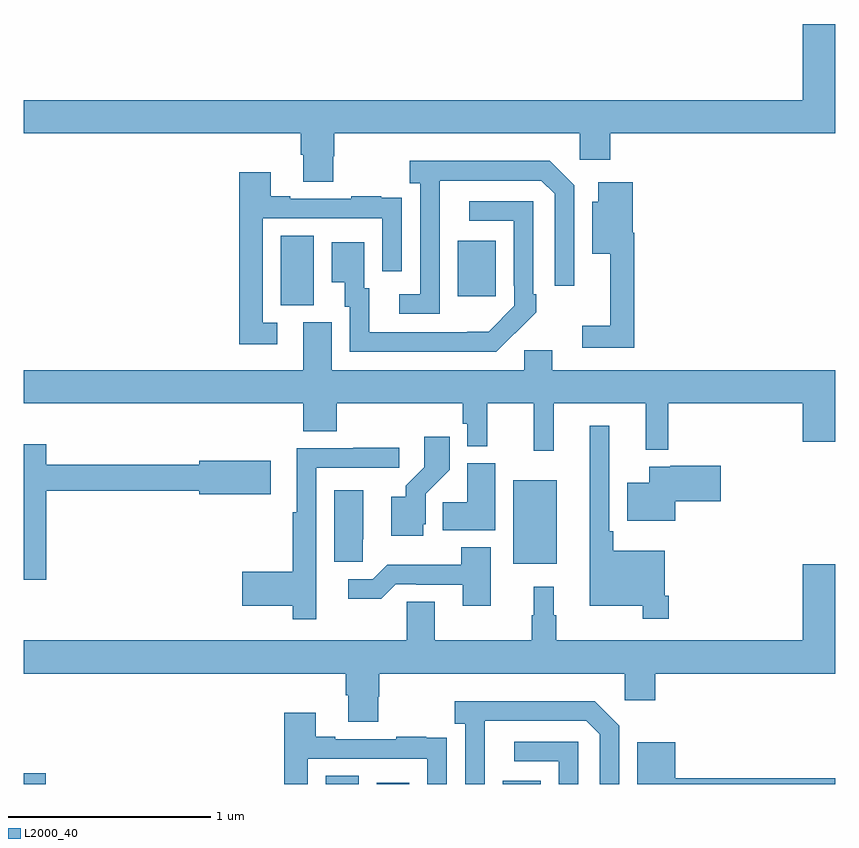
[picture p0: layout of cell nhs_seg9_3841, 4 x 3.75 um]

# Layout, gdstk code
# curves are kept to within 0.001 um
import gdstk
lib = gdstk.Library(unit=1e-6, precision=1e-09)
def R(c, l, rs):  # rectangles x0, y0, x1, y1
    for r in rs: c.add(gdstk.rectangle(r[:2], r[2:], *l))
def P(c, l, *ps):  # polygons
    for p in ps: c.add(gdstk.Polygon(p, *l))
L2000_40 = (2000, 40)

nhs_seg9_3841 = lib.new_cell('nhs_seg9_3841')
R(nhs_seg9_3841, L2000_40, [(329,1238.5,329.107,1238.552), (330.488,1238.5,330.652,1238.54), (330.74,1238.5,330.901,1238.506), (331.361,1238.5,331.549,1238.515), (331.412,1239.587,331.627,1239.997), (330.266,1240.861,330.43,1241.204), (331.139,1240.905,331.327,1241.179)])
P(nhs_seg9_3841, L2000_40, [(330.525,1241.595),(330.53,1241.595),(330.53,1241.708),(331.74,1241.708),(331.74,1241.577),(331.892,1241.577),(331.892,1241.708),(333,1241.708),(333,1242.247),(332.84,1242.247),(332.84,1241.872),(329,1241.872),(329,1241.708),(330.365,1241.708),(330.365,1241.602),(330.377,1241.602),(330.377,1241.47),(330.525,1241.47)],
  [(331.05,1241.275),(331.051,1241.475),(331.551,1241.475),(331.617,1241.409),(331.617,1240.956),(331.713,1240.956),(331.713,1241.451),(331.592,1241.572),(330.903,1241.572),(330.903,1241.462),(330.954,1241.462),(330.954,1240.914),(330.852,1240.914),(330.852,1240.818),(331.05,1240.818)],
  [(330.25,1240.773),(330.177,1240.773),(330.177,1241.289),(330.768,1241.289),(330.768,1241.028),(330.864,1241.028),(330.864,1241.282),(330.863,1241.282),(330.863,1241.391),(330.761,1241.391),(330.761,1241.398),(330.613,1241.398),(330.613,1241.385),(330.313,1241.385),(330.313,1241.398),(330.217,1241.398),(330.217,1241.515),(330.061,1241.515),(330.061,1240.668),(330.25,1240.668)],
  [(332.009,1241.218),(332.003,1241.218),(332.003,1241.467),(331.832,1241.467),(331.832,1241.371),(331.802,1241.371),(331.802,1241.114),(331.892,1241.114),(331.892,1240.759),(331.752,1240.759),(331.752,1240.65),(332.009,1240.65)],
  [(331.421,1240.723),(331.422,1240.722),(331.527,1240.827),(331.527,1240.915),(331.512,1240.915),(331.512,1241.373),(331.197,1241.373),(331.197,1241.277),(331.416,1241.277),(331.416,1240.957),(331.419,1240.957),(331.419,1240.857),(331.291,1240.729),(330.703,1240.728),(330.703,1240.944),(330.679,1240.944),(330.679,1241.17),(330.518,1241.17),(330.518,1240.973),(330.581,1240.973),(330.581,1240.854),(330.606,1240.854),(330.606,1240.632),(331.33,1240.632)],
  [(331.613,1240.376),(332.066,1240.376),(332.066,1240.148),(332.178,1240.148),(332.178,1240.376),(332.84,1240.376),(332.84,1240.188),(333,1240.188),(333,1240.54),(331.606,1240.54),(331.606,1240.638),(331.467,1240.638),(331.467,1240.54),(330.517,1240.54),(330.517,1240.776),(330.377,1240.776),(330.377,1240.54),(329,1240.54),(329,1240.376),(330.377,1240.376),(330.377,1240.24),(330.542,1240.24),(330.542,1240.376),(331.165,1240.376),(331.165,1240.275),(331.185,1240.275),(331.185,1240.166),(331.284,1240.166),(331.284,1240.376),(331.513,1240.376),(331.513,1240.143),(331.613,1240.143)],
  [(332.18,1239.427),(332.16,1239.427),(332.16,1239.649),(331.907,1239.649),(331.907,1239.745),(331.887,1239.745),(331.887,1240.267),(331.79,1240.267),(331.79,1239.38),(332.052,1239.38),(332.052,1239.315),(332.18,1239.315)],
  [(330.97,1239.78),(330.981,1239.78),(330.981,1239.931),(331.1,1240.05),(331.1,1240.213),(330.975,1240.213),(330.975,1240.061),(330.884,1239.971),(330.884,1239.916),(330.812,1239.916),(330.812,1239.723),(330.97,1239.723)],
  [(329.111,1239.946),(329.864,1239.946),(329.864,1239.928),(330.217,1239.928),(330.217,1240.093),(329.864,1240.093),(329.864,1240.075),(329.111,1240.075),(329.111,1240.175),(329,1240.175),(329,1239.506),(329.111,1239.506)],
  [(330.442,1239.534),(330.441,1239.534),(330.441,1240.059),(330.85,1240.059),(330.85,1240.158),(330.625,1240.158),(330.625,1240.155),(330.345,1240.155),(330.345,1239.839),(330.325,1239.839),(330.325,1239.546),(330.078,1239.546),(330.078,1239.38),(330.325,1239.38),(330.325,1239.312),(330.442,1239.312)],
  [(331.324,1240.081),(331.187,1240.081),(331.187,1239.89),(331.066,1239.89),(331.066,1239.752),(331.324,1239.752)],
  [(332.212,1239.893),(332.437,1239.893),(332.437,1240.068),(332.188,1240.068),(332.188,1240.063),(332.084,1240.063),(332.084,1239.985),(331.976,1239.985),(331.976,1239.797),(332.212,1239.797)],
  [(330.672,1239.706),(330.673,1239.706),(330.673,1239.949),(330.53,1239.949),(330.53,1239.595),(330.672,1239.595)],
  [(331.303,1239.667),(331.156,1239.667),(331.156,1239.581),(330.791,1239.581),(330.72,1239.51),(330.6,1239.51),(330.6,1239.413),(330.761,1239.413),(330.834,1239.486),(330.934,1239.486),(330.934,1239.483),(331.163,1239.483),(331.163,1239.378),(331.303,1239.378)],
  [(330.747,1238.931),(330.752,1238.931),(330.752,1239.044),(331.962,1239.044),(331.962,1238.913),(332.114,1238.913),(332.114,1239.044),(333,1239.044),(333,1239.583),(332.84,1239.583),(332.84,1239.208),(331.624,1239.208),(331.624,1239.332),(331.612,1239.332),(331.612,1239.472),(331.514,1239.472),(331.514,1239.332),(331.503,1239.332),(331.503,1239.208),(331.027,1239.208),(331.027,1239.398),(330.888,1239.398),(330.888,1239.208),(329,1239.208),(329,1239.044),(330.587,1239.044),(330.587,1238.938),(330.599,1238.938),(330.599,1238.806),(330.747,1238.806)],
  [(331.272,1238.611),(331.273,1238.811),(331.773,1238.811),(331.839,1238.745),(331.839,1238.5),(331.935,1238.5),(331.935,1238.787),(331.814,1238.908),(331.125,1238.908),(331.125,1238.798),(331.176,1238.798),(331.176,1238.5),(331.272,1238.5)],
  [(330.399,1238.625),(330.99,1238.625),(330.99,1238.5),(331.086,1238.5),(331.086,1238.618),(331.085,1238.618),(331.085,1238.727),(330.983,1238.727),(330.983,1238.734),(330.835,1238.734),(330.835,1238.721),(330.535,1238.721),(330.535,1238.734),(330.439,1238.734),(330.439,1238.851),(330.283,1238.851),(330.283,1238.5),(330.399,1238.5)],
  [(331.734,1238.709),(331.419,1238.709),(331.419,1238.613),(331.638,1238.613),(331.638,1238.5),(331.734,1238.5)],
  [(333,1238.528),(332.211,1238.528),(332.211,1238.707),(332.024,1238.707),(332.024,1238.5),(333,1238.5)])

lib.write_gds('nhs_seg9_3841.gds')
